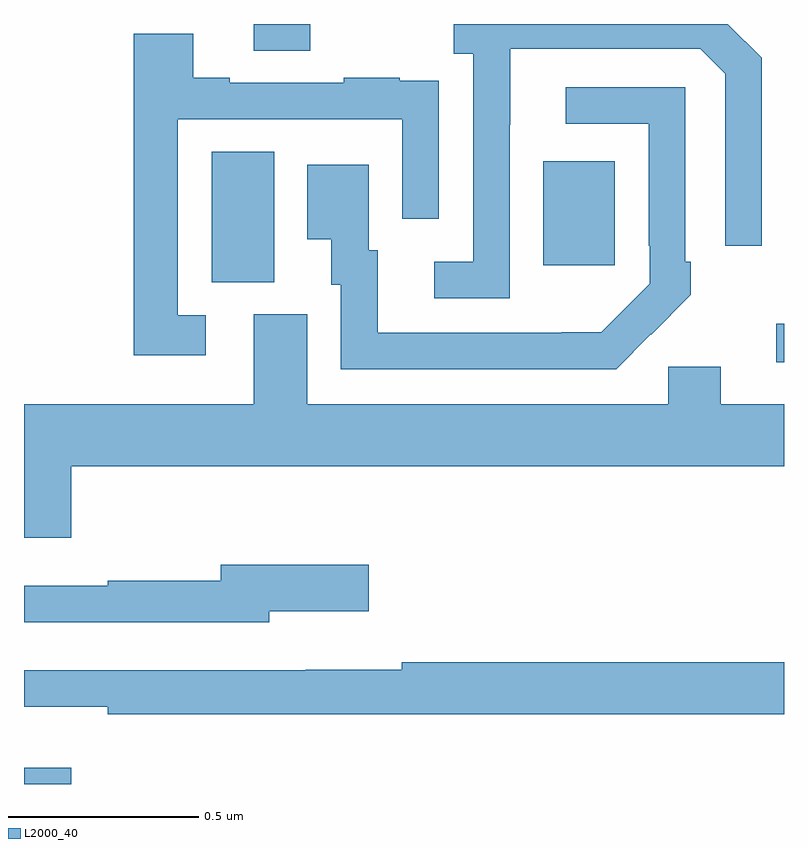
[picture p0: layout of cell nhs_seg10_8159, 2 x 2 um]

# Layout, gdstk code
import gdstk
lib = gdstk.Library(unit=1e-6, precision=1e-09)
def R(c, l, rs):  # rectangles x0, y0, x1, y1
    for r in rs: c.add(gdstk.rectangle(r[:2], r[2:], *l))
def P(c, l, *ps):  # polygons
    for p in ps: c.add(gdstk.Polygon(p, *l))
L2000_40 = (2000, 40)

nhs_seg10_8159 = lib.new_cell('nhs_seg10_8159')
R(nhs_seg10_8159, L2000_40, [(213,1279.5,213.124,1279.543), (214.98,1280.61,215,1280.711), (213.494,1280.821,213.658,1281.164), (214.367,1280.865,214.555,1281.139), (213.605,1281.43,213.753,1281.5)])
P(nhs_seg10_8159, L2000_40, [(214.278,1281.235),(214.279,1281.235),(214.279,1281.435),(214.779,1281.435),(214.845,1281.369),(214.845,1280.916),(214.941,1280.916),(214.941,1281.411),(214.852,1281.5),(214.131,1281.5),(214.131,1281.422),(214.182,1281.422),(214.182,1280.874),(214.08,1280.874),(214.08,1280.778),(214.278,1280.778)],
  [(213.478,1280.733),(213.405,1280.733),(213.405,1281.249),(213.996,1281.249),(213.996,1280.988),(214.092,1280.988),(214.092,1281.242),(214.091,1281.242),(214.091,1281.351),(213.989,1281.351),(213.989,1281.358),(213.841,1281.358),(213.841,1281.345),(213.541,1281.345),(213.541,1281.358),(213.445,1281.358),(213.445,1281.475),(213.289,1281.475),(213.289,1280.628),(213.478,1280.628)],
  [(214.649,1280.683),(214.65,1280.682),(214.755,1280.787),(214.755,1280.875),(214.74,1280.875),(214.74,1281.333),(214.425,1281.333),(214.425,1281.237),(214.644,1281.237),(214.644,1280.917),(214.647,1280.917),(214.647,1280.817),(214.519,1280.689),(214.415,1280.689),(214.415,1280.688),(213.931,1280.688),(213.931,1280.904),(213.907,1280.904),(213.907,1281.13),(213.746,1281.13),(213.746,1280.933),(213.809,1280.933),(213.809,1280.814),(213.834,1280.814),(213.834,1280.592),(214.558,1280.592)],
  [(213.124,1280.336),(215,1280.336),(215,1280.5),(214.834,1280.5),(214.834,1280.598),(214.695,1280.598),(214.695,1280.5),(213.745,1280.5),(213.745,1280.736),(213.605,1280.736),(213.605,1280.5),(213,1280.5),(213,1280.148),(213.124,1280.148)],
  [(213.646,1279.955),(213.907,1279.955),(213.907,1280.077),(213.518,1280.077),(213.518,1280.035),(213.22,1280.035),(213.22,1280.022),(213,1280.022),(213,1279.926),(213.646,1279.926)],
  [(215,1279.82),(213.994,1279.82),(213.994,1279.801),(213.742,1279.801),(213.742,1279.8),(213,1279.8),(213,1279.703),(213.22,1279.703),(213.22,1279.684),(215,1279.684)])

lib.write_gds('nhs_seg10_8159.gds')
